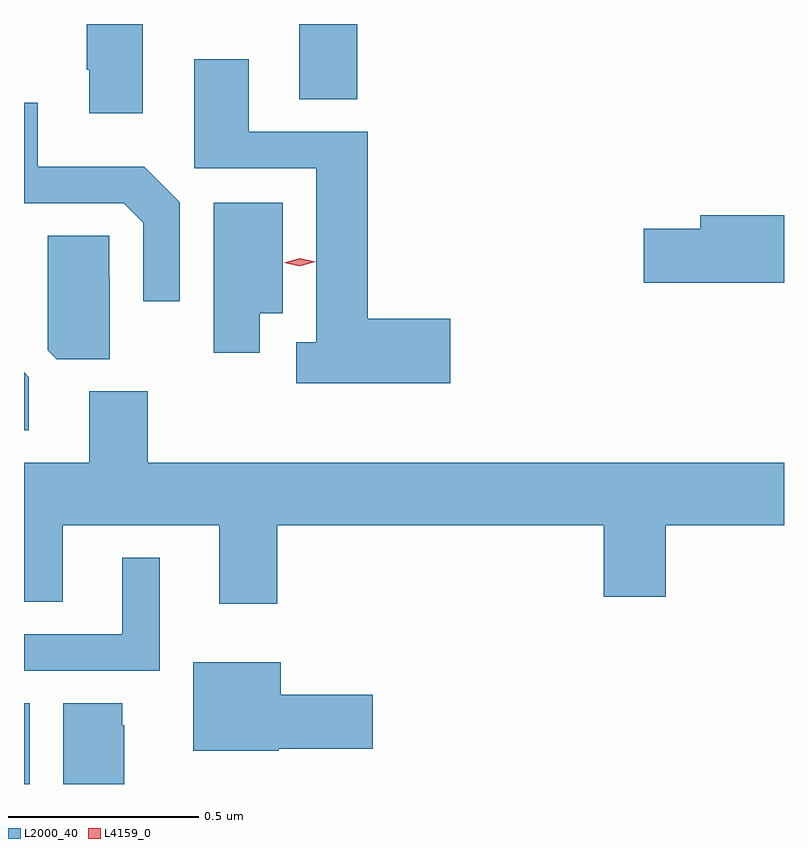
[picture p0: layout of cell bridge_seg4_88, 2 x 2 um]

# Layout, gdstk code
import gdstk
lib = gdstk.Library(unit=1e-6, precision=1e-09)
def R(c, l, rs):  # rectangles x0, y0, x1, y1
    for r in rs: c.add(gdstk.rectangle(r[:2], r[2:], *l))
def P(c, l, *ps):  # polygons
    for p in ps: c.add(gdstk.Polygon(p, *l))
L2000_40 = (2000, 40)
L4159_0 = (4159, 0)

bridge_seg4_88 = lib.new_cell('bridge_seg4_88')
R(bridge_seg4_88, L2000_40, [(427.219,784.151,427.234,784.364), (427.943,785.953,428.096,786.151)])
P(bridge_seg4_88, L2000_40, [(427.531,786.151),(427.384,786.151),(427.384,786.031),(427.391,786.031),(427.391,785.916),(427.531,785.916)],
  [(428.341,785.375),(428.123,785.375),(428.123,785.868),(427.81,785.868),(427.81,786.058),(427.667,786.058),(427.667,785.772),(427.988,785.772),(427.988,785.314),(427.935,785.314),(427.935,785.205),(428.341,785.205)],
  [(427.629,785.682),(427.535,785.776),(427.255,785.776),(427.255,785.944),(427.219,785.944),(427.219,785.679),(427.482,785.679),(427.533,785.628),(427.533,785.421),(427.629,785.421)],
  [(427.84,785.39),(427.9,785.39),(427.9,785.68),(427.718,785.68),(427.718,785.286),(427.84,785.286)],
  [(429.219,785.648),(428.999,785.648),(428.999,785.612),(428.85,785.612),(428.85,785.47),(429.219,785.47)],
  [(427.444,785.483),(427.443,785.483),(427.443,785.594),(427.281,785.594),(427.281,785.292),(427.305,785.269),(427.444,785.269)],
  [(427.231,785.222),(427.219,785.234),(427.219,785.082),(427.231,785.082)],
  [(427.544,785.184),(427.391,785.184),(427.391,784.996),(427.219,784.996),(427.219,784.63),(427.321,784.63),(427.321,784.832),(427.733,784.832),(427.733,784.626),(427.886,784.626),(427.886,784.832),(428.744,784.832),(428.744,784.644),(428.908,784.644),(428.908,784.832),(429.219,784.832),(429.219,784.996),(427.544,784.996)],
  [(427.576,784.747),(427.478,784.747),(427.478,784.545),(427.219,784.545),(427.219,784.449),(427.576,784.449)],
  [(427.89,784.244),(428.137,784.244),(428.137,784.386),(427.894,784.386),(427.894,784.471),(427.664,784.471),(427.664,784.238),(427.89,784.238)],
  [(427.483,784.305),(427.477,784.305),(427.477,784.364),(427.322,784.364),(427.322,784.151),(427.483,784.151)])
P(bridge_seg4_88, L4159_0, [(427.945,785.514),(427.904,785.523),(427.904,785.523),(427.904,785.523),(427.945,785.534),(427.985,785.525),(427.985,785.525),(427.985,785.525)])

lib.write_gds('bridge_seg4_88.gds')
